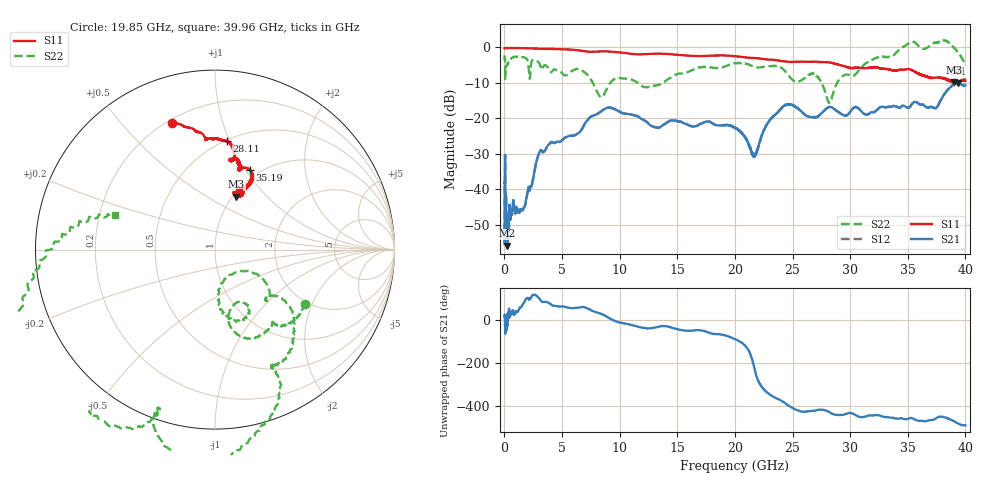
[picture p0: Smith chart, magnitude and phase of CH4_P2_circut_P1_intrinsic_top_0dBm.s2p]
!Keysight Technologies,N5222B,MY61257109,A.17.25.03
!Date: Tuesday, July 21, 2026 19:55:46
!Correction: S11(C  2-Port  )
!S21(C  2-Port  )
!S12(C  2-Port  )
!S22(C  2-Port  )
!S2P File: Measurements: S11, S21, S12, S22:
# Hz S  dB  R 50
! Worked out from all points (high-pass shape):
!   4000 points, 10 MHz to 40 GHz, reference 50 ohm
!   highest |S21| = -10.19 dB at 39.37 GHz (marker M1); lowest = -55.8 dB at 260 MHz (marker M2)
!   |S21| within 3 dB of the highest: 38.2 GHz to end of sweep
!   lowest |S11| = -10.0 dB at 39.02 GHz (marker M3), VSWR 1.93, Z = 52.1 + j34.1 ohm
!   |S11| at or under -10 dB: nowhere
!   |S22| runs from -15.8 to 1.8 dB; largest |S21 - S12| = 0.0038
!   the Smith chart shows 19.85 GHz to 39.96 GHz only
!   S11 on the Smith chart (normalised r, x): 19.85 GHz: 0.22, +0.69; 28.11 GHz: 0.51, +0.98; 35.19 GHz: 0.90, +1.05; 39.96 GHz: 1.03, +0.75
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1e7  -0.38 -179.6  -55.28 13.6  -55.37 18.5  -2.40 -51.1
2.6e8  -0.33 178.8  -55.77 16.4  -55.91 15.8  -4.93 -174.4
8.1e8  -0.33 176.4  -44.57 23.9  -44.53 23.9  -2.78 151.3
1.75e9  -0.38 172.0  -44.71 87.1  -44.67 87.1  -2.96 100.1
3.06e9  -0.52 166.3  -29.37 98.1  -29.38 97.8  -4.87 56.3
6.68e9  -1.08 150.3  -23.28 61.0  -23.29 60.9  -6.48 4.2
8.38e9  -1.25 146.5  -18.10 29.5  -18.10 29.5  -14.07 3.2
1.334e10  -1.91 131.2  -22.66 -30.6  -22.69 -30.6  -10.71 4.6
1.985e10  -2.58 108.7  -22.53 -84.0  -22.38 -83.4  -4.67 -31.2
2.001e10  -2.62 108.0  -22.62 -87.6  -22.78 -87.2  -4.63 -33.3
2.165e10  -3.14 102.3  -30.86 145.9  -30.53 146.9  -5.54 -51.6
2.425e10  -4.05 95.1  -16.55 -21.2  -16.59 -21.2  -6.53 -76.3
2.667e10  -4.15 90.4  -19.70 -60.8  -19.67 -60.7  -7.60 -67.3
2.811e10  -4.33 83.8  -16.97 -64.2  -16.95 -64.4  -15.35 -66.1
3.128e10  -5.97 79.4  -18.91 -87.2  -18.89 -87.2  -4.80 -40.5
3.334e10  -6.26 72.8  -16.84 -90.5  -16.80 -90.6  -2.83 -64.4
3.519e10  -6.28 66.4  -16.83 -94.2  -16.81 -94.4  1.26 -86.5
3.782e10  -8.60 65.8  -15.24 -87.8  -15.20 -87.5  1.40 -133.7
3.902e10  -9.96 67.9  -10.47 -109.4  -10.41 -109.3  -0.23 -176.5
3.937e10  -9.76 70.7  -10.19 -119.3  -10.18 -119.5  -1.57 174.2
3.996e10  -9.20 67.5  -10.92 -128.0  -10.85 -128.0  -4.62 160.6
4e10  -9.47 69.7  -10.76 -128.0  -10.70 -128.1  -4.87 161.8
